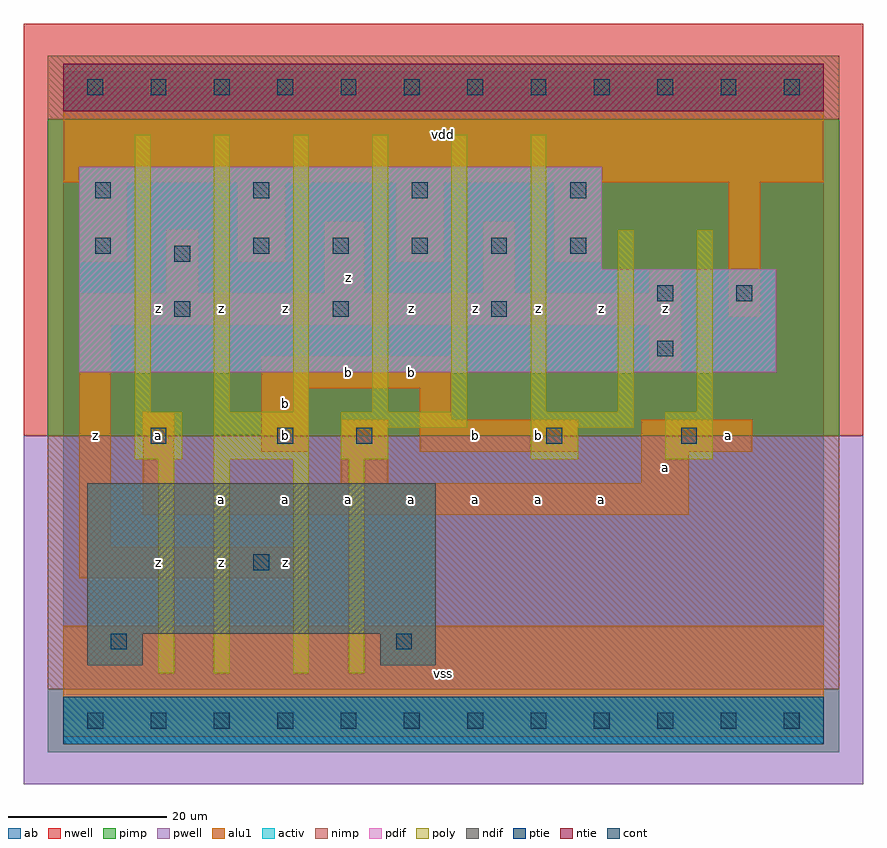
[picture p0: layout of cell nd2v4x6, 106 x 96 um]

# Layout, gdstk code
import gdstk
lib = gdstk.Library(unit=1e-6, precision=1e-09)
def R(c, l, rs):  # rectangles x0, y0, x1, y1
    for r in rs: c.add(gdstk.rectangle(r[:2], r[2:], *l))
def A(c, l, x, y, w, h, nx, ny, dx, dy):  # array of equal rectangles
    R(c, l, [(x+i*dx, y+j*dy, x+i*dx+w, y+j*dy+h) for i in range(nx) for j in range(ny)])
ndif = (3, 0)
pdif = (4, 0)
ntie = (5, 0)
ptie = (6, 0)
cont = (25, 0)
pwell = (41, 0)
nwell = (42, 0)
activ = (43, 0)
pimp = (44, 0)
nimp = (45, 0)
poly = (46, 0)
alu1 = (49, 0)
ab = (63, 0)

nd2v4x6 = lib.new_cell('nd2v4x6')
R(nd2v4x6, ndif, [(3,7,10,11), (40,7,47,11), (3,11,47,30)])
R(nd2v4x6, pdif, [(2,44,90,57), (2,57,68,70)])
R(nd2v4x6, ntie, [(0,77,96,83)])
R(nd2v4x6, ptie, [(0,-3,96,3)])
A(nd2v4x6, cont, 3, -1, 2, 2, 12, 2, 8, 80)
A(nd2v4x6, cont, 14, 51, 2, 2, 3, 1, 20, 0)
A(nd2v4x6, cont, 24, 59, 2, 2, 5, 1, 10, 0)
A(nd2v4x6, cont, 4, 66, 2, 2, 4, 1, 20, 0)
R(nd2v4x6, cont, [(6,9,8,11), (42,9,44,11), (24,19,26,21), (11,35,13,37), (27,35,29,37), (37,35,39,37), (61,35,63,37), (78,35,80,37), (75,46,77,48), (75,53,77,55), (85,53,87,55), (14,58,16,60), (4,59,6,61)])
R(nd2v4x6, pwell, [(-5,-8,101,36)])
R(nd2v4x6, nwell, [(-5,36,101,88)])
R(nd2v4x6, activ, [(0,-3,96,3), (3,7,10,11), (40,7,47,11), (3,11,47,30), (2,44,90,57), (2,57,68,70), (0,77,96,83)])
R(nd2v4x6, pimp, [(-2,-4,98,4), (-2,36,98,76)])
R(nd2v4x6, nimp, [(-2,4,98,36), (-2,76,98,84)])
A(nd2v4x6, poly, 9, 39, 2, 35, 6, 1, 10, 0)
R(nd2v4x6, poly, [(12,6,14,33), (19,6,21,33), (29,6,31,33), (36,6,38,33), (9,33,15,39), (19,33,31,39), (35,33,41,37), (59,33,65,37), (76,33,82,39), (35,37,51,39), (59,37,72,39), (70,39,72,62), (80,39,82,62)])
A(nd2v4x6, alu1, 2, 58, 6, 10, 4, 1, 20, 0)
R(nd2v4x6, alu1, [(0,-2,96,12), (2,18,31,22), (2,22,6,50), (10,26,79,30), (10,30,14,39), (35,30,41,38), (73,30,79,34), (25,34,31,42), (45,34,65,38), (73,34,87,38), (45,38,49,42), (25,42,49,46), (74,44,78,50), (2,50,78,54), (84,51,88,68), (13,54,17,62), (33,54,38,63), (53,54,57,63), (74,54,78,57), (0,68,96,82)])
R(nd2v4x6, ab, [(0,0,96,80)])
nd2v4x6.add(gdstk.Label('z', (12,20), layer=49, texttype=0))
nd2v4x6.add(gdstk.Label('a', (12,36), layer=49, texttype=0))
nd2v4x6.add(gdstk.Label('z', (4,36), layer=49, texttype=0))
nd2v4x6.add(gdstk.Label('z', (12,52), layer=49, texttype=0))
nd2v4x6.add(gdstk.Label('z', (20,20), layer=49, texttype=0))
nd2v4x6.add(gdstk.Label('a', (20,28), layer=49, texttype=0))
nd2v4x6.add(gdstk.Label('z', (28,20), layer=49, texttype=0))
nd2v4x6.add(gdstk.Label('a', (28,28), layer=49, texttype=0))
nd2v4x6.add(gdstk.Label('b', (28,36), layer=49, texttype=0))
nd2v4x6.add(gdstk.Label('b', (28,40), layer=49, texttype=0))
nd2v4x6.add(gdstk.Label('z', (28,52), layer=49, texttype=0))
nd2v4x6.add(gdstk.Label('z', (20,52), layer=49, texttype=0))
nd2v4x6.add(gdstk.Label('vss', (48,6), layer=49, texttype=0))
nd2v4x6.add(gdstk.Label('a', (36,28), layer=49, texttype=0))
nd2v4x6.add(gdstk.Label('a', (44,28), layer=49, texttype=0))
nd2v4x6.add(gdstk.Label('a', (52,28), layer=49, texttype=0))
nd2v4x6.add(gdstk.Label('b', (36,44), layer=49, texttype=0))
nd2v4x6.add(gdstk.Label('b', (44,44), layer=49, texttype=0))
nd2v4x6.add(gdstk.Label('b', (52,36), layer=49, texttype=0))
nd2v4x6.add(gdstk.Label('z', (44,52), layer=49, texttype=0))
nd2v4x6.add(gdstk.Label('z', (52,52), layer=49, texttype=0))
nd2v4x6.add(gdstk.Label('z', (36,56), layer=49, texttype=0))
nd2v4x6.add(gdstk.Label('vdd', (48,74), layer=49, texttype=0))
nd2v4x6.add(gdstk.Label('a', (60,28), layer=49, texttype=0))
nd2v4x6.add(gdstk.Label('a', (68,28), layer=49, texttype=0))
nd2v4x6.add(gdstk.Label('a', (76,32), layer=49, texttype=0))
nd2v4x6.add(gdstk.Label('b', (60,36), layer=49, texttype=0))
nd2v4x6.add(gdstk.Label('z', (68,52), layer=49, texttype=0))
nd2v4x6.add(gdstk.Label('z', (76,52), layer=49, texttype=0))
nd2v4x6.add(gdstk.Label('z', (60,52), layer=49, texttype=0))
nd2v4x6.add(gdstk.Label('a', (84,36), layer=49, texttype=0))

lib.write_gds('nd2v4x6.gds')
